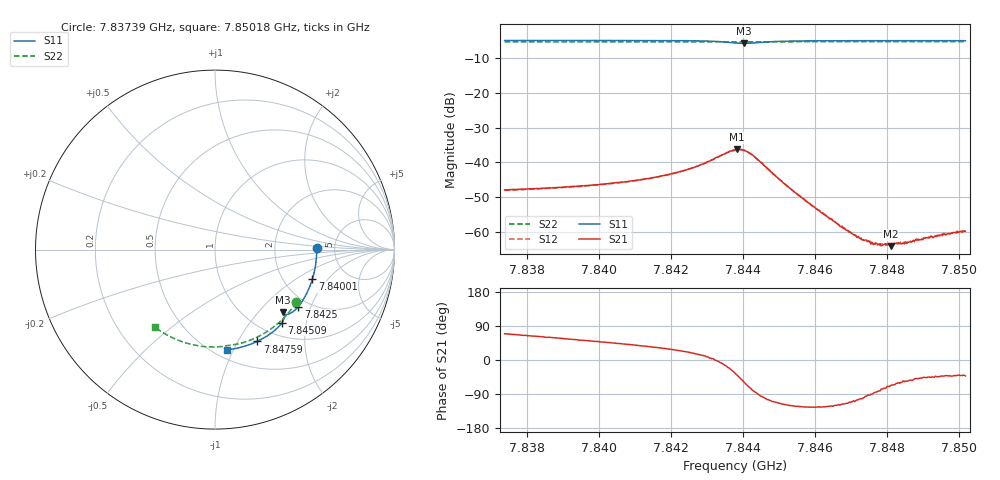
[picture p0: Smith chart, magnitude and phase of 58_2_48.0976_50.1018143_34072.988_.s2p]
#  HZ  S  RI  R  50.00
! Rohde & Schwarz Vector Network Analyzer
! Rohde-Schwarz,ZNB20-2Port,1311601062101988,3.16
! Created: UTC 12/23/2023, 3:40:28 AM
! freq[Hz]  re:S11  im:S11  re:S21  im:S21  re:S12  im:S12  re:S22  im:S22
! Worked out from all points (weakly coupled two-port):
!   401 points, 7.83739 GHz to 7.85018 GHz, reference 50 ohm
!   highest |S21| = -36.28 dB at 7.84385 GHz (marker M1); lowest = -64.2 dB at 7.8481 GHz (marker M2)
!   lowest |S11| = -5.8 dB at 7.84404 GHz (marker M3), VSWR 3.12, Z = 72.1 - j68.6 ohm
!   |S11| at or under -10 dB: nowhere
!   |S22| runs from -5.4 to -5.3 dB; largest |S21 - S12| = 0.0003
!   S11 on the Smith chart (normalised r, x): 7.83739 GHz: 3.61, +0.10; 7.84001 GHz: 2.88, -1.39; 7.8425 GHz: 1.76, -1.64; 7.84509 GHz: 1.25, -1.46; 7.84759 GHz: 0.81, -1.21; 7.85018 GHz: 0.58, -0.95
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7.837386e9  0.5664 0.00946  0.00141 0.00375  0.00142 0.00367  0.4528 -0.2934
7.839529e9  0.5513 -0.1324  0.00279 0.00362  0.00273 0.00354  0.3556 -0.4071
7.840008e9  0.5429 -0.1636  0.00316 0.00357  0.00311 0.00355  0.3297 -0.4286
7.841671e9  0.4979 -0.2682  0.00526 0.00332  0.00519 0.00331  0.2304 -0.49
7.842503e9  0.4636 -0.3178  0.00748 0.00279  0.00744 0.00274  0.1763 -0.5119
7.843302e9  0.4147 -0.3578  0.0118 -0.00058  0.0118 -0.000597  0.1219 -0.5268
7.843782e9  0.3801 -0.3578  0.0123 -0.00862  0.0123 -0.00839  0.0898 -0.5315
7.843846e9  0.3778 -0.3554  0.0117 -0.00995  0.0115 -0.00976  0.0858 -0.5322
7.844038e9  0.3773 -0.3496  0.00773 -0.0128  0.00758 -0.0126  0.0737 -0.5339
7.844294e9  0.385 -0.3537  0.00182 -0.0123  0.00189 -0.0122  0.0572 -0.5369
7.845093e9  0.3732 -0.4068  -0.0023 -0.00469  -0.00231 -0.00469  0.00167 -0.5427
7.845925e9  0.3317 -0.4511  -0.00133 -0.00193  -0.00135 -0.00196  -0.0571 -0.5406
7.846756e9  0.2849 -0.4847  -0.0005 -0.00103  -0.000588 -0.00105  -0.1149 -0.532
7.847108e9  0.2639 -0.4967  -0.000301 -0.00083  -0.000276 -0.000861  -0.139 -0.5265
7.847364e9  0.2485 -0.5048  -0.000122 -0.000737  -0.000119 -0.000739  -0.1565 -0.5217
7.847588e9  0.2351 -0.5114  -1.08e-06 -0.000704  1.79e-05 -0.000676  -0.1715 -0.5171
7.84778e9  0.2231 -0.5168  9.3e-05 -0.000656  0.000109 -0.000652  -0.1843 -0.5127
7.848067e9  0.2053 -0.5243  0.000225 -0.000614  0.0002 -0.000629  -0.2031 -0.5058
7.848099e9  0.2034 -0.5252  0.000235 -0.000571  0.000247 -0.000614  -0.2053 -0.505
7.848707e9  0.165 -0.5384  0.00043 -0.000587  0.000454 -0.00056  -0.2441 -0.4877
7.849634e9  0.1047 -0.5529  0.000677 -0.000586  0.000707 -0.000615  -0.3007 -0.4556
7.850178e9  0.069 -0.5584  0.00075 -0.000679  0.000773 -0.00068  -0.332 -0.4337
